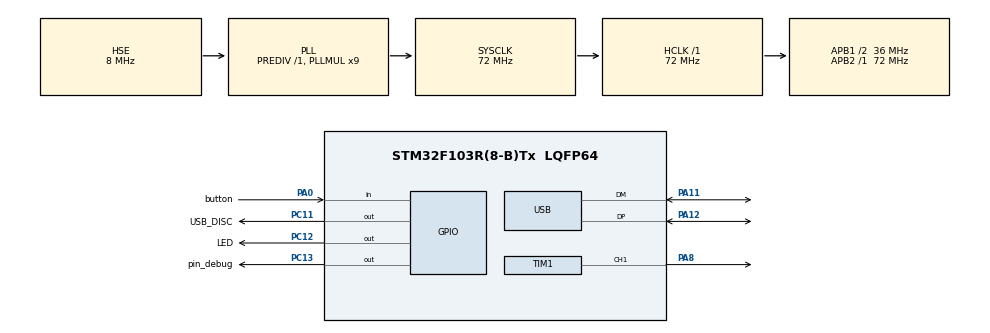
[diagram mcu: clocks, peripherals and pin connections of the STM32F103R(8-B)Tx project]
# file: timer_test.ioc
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Mcu.Family=STM32F1
Mcu.Name=STM32F103R(8-B)Tx
Mcu.Package=LQFP64
NVIC.PriorityGroup=NVIC_PRIORITYGROUP_4
NVIC.TIM1_CC_IRQn=true\:0\:0\:false\:false\:true\:true\:true\:true
NVIC.TIM3_IRQn=true\:0\:0\:false\:false\:true\:true\:true\:true
NVIC.USB_LP_CAN1_RX0_IRQn=true\:0\:0\:false\:false\:true\:false\:true\:true
PA0-WKUP.GPIO_Label=button
PA0-WKUP.Signal=GPIO_Input
PA11.Mode=Device
PA11.Signal=USB_DM
PA12.Mode=Device
PA12.Signal=USB_DP
PA13.Mode=JTAG_5_pins
PA13.Signal=SYS_JTMS-SWDIO
PA14.Mode=JTAG_5_pins
PA14.Signal=SYS_JTCK-SWCLK
PA15.Mode=JTAG_5_pins
PA15.Signal=SYS_JTDI
PA8.Signal=S_TIM1_CH1
PB3.Mode=JTAG_5_pins
PB3.Signal=SYS_JTDO-TRACESWO
PB4.Mode=JTAG_5_pins
PB4.Signal=SYS_NJTRST
PC11.GPIO_Label=USB_DISC
PC11.Signal=GPIO_Output
PC12.GPIO_Label=LED
PC12.Signal=GPIO_Output
PC13-TAMPER-RTC.GPIO_Label=pin_debug
PC13-TAMPER-RTC.Signal=GPIO_Output
PD0-OSC_IN.Mode=HSE-External-Oscillator
PD0-OSC_IN.Signal=RCC_OSC_IN
PD1-OSC_OUT.Mode=HSE-External-Oscillator
PD1-OSC_OUT.Signal=RCC_OSC_OUT
PD2.Signal=S_TIM3_ETR
ProjectManager.HeapSize=0x200
ProjectManager.StackSize=0x400
ProjectManager.TargetToolchain=STM32CubeIDE
RCC.AHBFreq_Value=72000000
RCC.APB1CLKDivider=RCC_HCLK_DIV2
RCC.APB1Freq_Value=36000000
RCC.APB1TimFreq_Value=72000000
RCC.APB2Freq_Value=72000000
RCC.APB2TimFreq_Value=72000000
RCC.HCLKFreq_Value=72000000
RCC.PLLMUL=RCC_PLL_MUL9
RCC.PLLSourceVirtual=RCC_PLLSOURCE_HSE
RCC.SYSCLKFreq_VALUE=72000000
RCC.SYSCLKSource=RCC_SYSCLKSOURCE_PLLCLK
RCC.USBFreq_Value=48000000
RCC.USBPrescaler=RCC_USBCLKSOURCE_PLL_DIV1_5
SH.S_TIM1_CH1.0=TIM1_CH1,PWM Generation1 CH1
SH.S_TIM3_ETR.0=TIM3_ETR
TIM1.AutoReloadPreload=TIM_AUTORELOAD_PRELOAD_ENABLE
TIM1.Channel-PWM\ Generation1\ CH1=TIM_CHANNEL_1
TIM1.Period=9
TIM1.Prescaler=7199
TIM1.Pulse-PWM\ Generation1\ CH1=5
TIM1.TIM_MasterOutputTrigger=TIM_TRGO_OC1
TIM1.TIM_MasterSlaveMode=TIM_MASTERSLAVEMODE_DISABLE
TIM3.Channel-Output\ Compare1\ No\ Output=TIM_CHANNEL_1
TIM3.Pulse-Output\ Compare1\ No\ Output=10
USB_DEVICE.APP_RX_DATA_SIZE=128
USB_DEVICE.APP_TX_DATA_SIZE=128
USB_DEVICE.CLASS_NAME_FS=CDC
USB_DEVICE.MANUFACTURER_STRING=RWGee
USB_DEVICE.PRODUCT_STRING_CDC_FS=Timer Test
USB_DEVICE.USBD_DEBUG_LEVEL=0
USB_DEVICE.VirtualMode=Cdc
USB_DEVICE.VirtualModeFS=Cdc_FS
VP_TIM1_VS_ClockSourceINT.Mode=Internal
VP_TIM3_VS_ClockSourceITR.Mode=TriggerSource_ITR0
VP_TIM3_VS_ControllerModeClock.Mode=Clock Mode
VP_TIM3_VS_no_output1.Mode=Output Compare1 No Output
VP_USB_DEVICE_VS_USB_DEVICE_CDC_FS.Mode=CDC_FS
board=custom

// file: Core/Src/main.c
/* USER CODE BEGIN Header */
/**
 ******************************************************************************
 * @file           : main.c
 * @brief          : Main program body
 ******************************************************************************
 * @attention
 *
 * Copyright (c) 2023 STMicroelectronics.
 * All rights reserved.
 *
 * This software is licensed under terms that can be found in the LICENSE file
 * in the root directory of this software component.
 * If no LICENSE file comes with this software, it is provided AS-IS.
 *
 ******************************************************************************
 */
/* USER CODE END Header */
#include "main.h"
#include "usb_device.h"

/* USER CODE BEGIN Includes */
#include <stdint.h>
#include <stdbool.h>
#include <limits.h>
#include "motion.h"
#include "usbd_cdc_if.h"
/* USER CODE END Includes */

/* USER CODE BEGIN PD */
#define LED_FREQ						3U		// Hz
#define LED_DUTY						20U		// percentage
#define BGLOOP_RATE                     20U
#define ACCEL_STEPS                     10U
#define ACCEL_K                         220U    // Fraction of 256
/* USER CODE END PD */

TIM_HandleTypeDef htim1;
TIM_HandleTypeDef htim3;

/* USER CODE BEGIN PV */
static struct
{
  uint32_t on_ticks;
  uint32_t off_ticks;
  uint32_t next_change;
  GPIO_PinState state;
} sled =  { 0 };

static struct
{
volatile  bool running;
  uint32_t n_pulse;
  uint32_t psc;
  uint32_t ccr1;
} spwm = {0};

static uint32_t a_psc[ACCEL_STEPS] = {0};
/* USER CODE END PV */

void SystemClock_Config(void);
static void MX_GPIO_Init(void);
static void MX_TIM1_Init(void);
static void MX_TIM3_Init(void);
/* USER CODE BEGIN PFP */

static void set_led_rate(uint32_t freq, uint32_t dr);
static void bg_proc(void);
static void schedule_pulse(uint32_t ticks);
static void motion_test(void);
/* USER CODE END PFP */

int main(void)
{
  /* USER CODE BEGIN 1 */

  set_led_rate(LED_FREQ, LED_DUTY);

  HAL_GPIO_WritePin(LED_GPIO_Port, LED_Pin, GPIO_PIN_SET);

  /* USER CODE END 1 */

  /* MCU Configuration--------------------------------------------------------*/

  /* Reset of all peripherals, Initializes the Flash interface and the Systick. */
  HAL_Init();

  /* Configure the system clock */
  SystemClock_Config();

  /* Initialize all configured peripherals */
  MX_GPIO_Init();
  MX_TIM1_Init();
  MX_TIM3_Init();
  MX_USB_DEVICE_Init();
  /* USER CODE BEGIN 2 */
  //HAL_TIM_PWM_Start(&htim1, TIM_CHANNEL_1);
  //HAL_TIM_OC_Start_IT(&htim3, TIM_CHANNEL_1);
  spwm.psc = htim1.Init.Prescaler;
  spwm.ccr1 = htim1.Instance->CCR1;
  HAL_GPIO_WritePin(pin_debug_GPIO_Port, pin_debug_Pin, GPIO_PIN_RESET);
  HAL_NVIC_SetPriority(TIM1_UP_IRQn, 0, 0);
  HAL_NVIC_EnableIRQ(TIM1_UP_IRQn);

  // Prepare accel steps
  uint32_t psc = spwm.psc;
  for (uint32_t i = 0; i < ACCEL_STEPS ; i++)
  {
    psc = (psc * ACCEL_K) >> 8;
    a_psc[i] = psc;
  }

  /* USER CODE END 2 */

  /* Infinite loop */
  /* USER CODE BEGIN WHILE */
  static uint32_t bg_tick;
  bg_tick = HAL_GetTick() + BGLOOP_RATE;
  while (1)
  {
    if (HAL_GetTick() >= bg_tick)
    {
      bg_tick += BGLOOP_RATE;
      bg_proc();
    }

    if (HAL_GetTick() >= sled.next_change)
    {
      if (sled.state == GPIO_PIN_SET)
      {
        sled.state = GPIO_PIN_RESET;
        sled.next_change += sled.on_ticks;
      }
      else
      {
        sled.state = GPIO_PIN_SET;
        sled.next_change += sled.off_ticks;
      }
      HAL_GPIO_WritePin(LED_GPIO_Port, LED_Pin, sled.state);
    }
    /* USER CODE END WHILE */

  }
}

void SystemClock_Config(void)
{
  RCC_OscInitTypeDef RCC_OscInitStruct = {0};
  RCC_ClkInitTypeDef RCC_ClkInitStruct = {0};
  RCC_PeriphCLKInitTypeDef PeriphClkInit = {0};

  /** Initializes the RCC Oscillators according to the specified parameters
  * in the RCC_OscInitTypeDef structure.
  */
  RCC_OscInitStruct.OscillatorType = RCC_OSCILLATORTYPE_HSE;
  RCC_OscInitStruct.HSEState = RCC_HSE_ON;
  RCC_OscInitStruct.HSEPredivValue = RCC_HSE_PREDIV_DIV1;
  RCC_OscInitStruct.HSIState = RCC_HSI_ON;
  RCC_OscInitStruct.PLL.PLLState = RCC_PLL_ON;
  RCC_OscInitStruct.PLL.PLLSource = RCC_PLLSOURCE_HSE;
  RCC_OscInitStruct.PLL.PLLMUL = RCC_PLL_MUL9;
  if (HAL_RCC_OscConfig(&RCC_OscInitStruct) != HAL_OK)
  {
    Error_Handler();
  }

  /** Initializes the CPU, AHB and APB buses clocks
  */
  RCC_ClkInitStruct.ClockType = RCC_CLOCKTYPE_HCLK|RCC_CLOCKTYPE_SYSCLK
                              |RCC_CLOCKTYPE_PCLK1|RCC_CLOCKTYPE_PCLK2;
  RCC_ClkInitStruct.SYSCLKSource = RCC_SYSCLKSOURCE_PLLCLK;
  RCC_ClkInitStruct.AHBCLKDivider = RCC_SYSCLK_DIV1;
  RCC_ClkInitStruct.APB1CLKDivider = RCC_HCLK_DIV2;
  RCC_ClkInitStruct.APB2CLKDivider = RCC_HCLK_DIV1;

  if (HAL_RCC_ClockConfig(&RCC_ClkInitStruct, FLASH_LATENCY_2) != HAL_OK)
  {
    Error_Handler();
  }
  PeriphClkInit.PeriphClockSelection = RCC_PERIPHCLK_USB;
  PeriphClkInit.UsbClockSelection = RCC_USBCLKSOURCE_PLL_DIV1_5;
  if (HAL_RCCEx_PeriphCLKConfig(&PeriphClkInit) != HAL_OK)
  {
    Error_Handler();
  }
}

static void MX_TIM1_Init(void)
{

  TIM_ClockConfigTypeDef sClockSourceConfig = {0};
  TIM_MasterConfigTypeDef sMasterConfig = {0};
  TIM_OC_InitTypeDef sConfigOC = {0};
  TIM_BreakDeadTimeConfigTypeDef sBreakDeadTimeConfig = {0};

  htim1.Instance = TIM1;
  htim1.Init.Prescaler = 7199;
  htim1.Init.CounterMode = TIM_COUNTERMODE_UP;
  htim1.Init.Period = 9;
  htim1.Init.ClockDivision = TIM_CLOCKDIVISION_DIV1;
  htim1.Init.RepetitionCounter = 0;
  htim1.Init.AutoReloadPreload = TIM_AUTORELOAD_PRELOAD_ENABLE;
  if (HAL_TIM_Base_Init(&htim1) != HAL_OK)
  {
    Error_Handler();
  }
  sClockSourceConfig.ClockSource = TIM_CLOCKSOURCE_INTERNAL;
  if (HAL_TIM_ConfigClockSource(&htim1, &sClockSourceConfig) != HAL_OK)
  {
    Error_Handler();
  }
  if (HAL_TIM_PWM_Init(&htim1) != HAL_OK)
  {
    Error_Handler();
  }
  sMasterConfig.MasterOutputTrigger = TIM_TRGO_OC1;
  sMasterConfig.MasterSlaveMode = TIM_MASTERSLAVEMODE_DISABLE;
  if (HAL_TIMEx_MasterConfigSynchronization(&htim1, &sMasterConfig) != HAL_OK)
  {
    Error_Handler();
  }
  sConfigOC.OCMode = TIM_OCMODE_PWM1;
  sConfigOC.Pulse = 5;
  sConfigOC.OCPolarity = TIM_OCPOLARITY_HIGH;
  sConfigOC.OCNPolarity = TIM_OCNPOLARITY_HIGH;
  sConfigOC.OCFastMode = TIM_OCFAST_DISABLE;
  sConfigOC.OCIdleState = TIM_OCIDLESTATE_RESET;
  sConfigOC.OCNIdleState = TIM_OCNIDLESTATE_RESET;
  if (HAL_TIM_PWM_ConfigChannel(&htim1, &sConfigOC, TIM_CHANNEL_1) != HAL_OK)
  {
    Error_Handler();
  }
  sBreakDeadTimeConfig.OffStateRunMode = TIM_OSSR_DISABLE;
  sBreakDeadTimeConfig.OffStateIDLEMode = TIM_OSSI_DISABLE;
  sBreakDeadTimeConfig.LockLevel = TIM_LOCKLEVEL_OFF;
  sBreakDeadTimeConfig.DeadTime = 0;
  sBreakDeadTimeConfig.BreakState = TIM_BREAK_DISABLE;
  sBreakDeadTimeConfig.BreakPolarity = TIM_BREAKPOLARITY_HIGH;
  sBreakDeadTimeConfig.AutomaticOutput = TIM_AUTOMATICOUTPUT_DISABLE;
  if (HAL_TIMEx_ConfigBreakDeadTime(&htim1, &sBreakDeadTimeConfig) != HAL_OK)
  {
    Error_Handler();
  }
  HAL_TIM_MspPostInit(&htim1);

}

static void MX_TIM3_Init(void)
{

  TIM_SlaveConfigTypeDef sSlaveConfig = {0};
  TIM_MasterConfigTypeDef sMasterConfig = {0};
  TIM_OC_InitTypeDef sConfigOC = {0};

  htim3.Instance = TIM3;
  htim3.Init.Prescaler = 0;
  htim3.Init.CounterMode = TIM_COUNTERMODE_UP;
  htim3.Init.Period = 65535;
  htim3.Init.ClockDivision = TIM_CLOCKDIVISION_DIV1;
  htim3.Init.AutoReloadPreload = TIM_AUTORELOAD_PRELOAD_DISABLE;
  if (HAL_TIM_Base_Init(&htim3) != HAL_OK)
  {
    Error_Handler();
  }
  if (HAL_TIM_OC_Init(&htim3) != HAL_OK)
  {
    Error_Handler();
  }
  sSlaveConfig.SlaveMode = TIM_SLAVEMODE_EXTERNAL1;
  sSlaveConfig.InputTrigger = TIM_TS_ITR0;
  if (HAL_TIM_SlaveConfigSynchro(&htim3, &sSlaveConfig) != HAL_OK)
  {
    Error_Handler();
  }
  sMasterConfig.MasterOutputTrigger = TIM_TRGO_RESET;
  sMasterConfig.MasterSlaveMode = TIM_MASTERSLAVEMODE_DISABLE;
  if (HAL_TIMEx_MasterConfigSynchronization(&htim3, &sMasterConfig) != HAL_OK)
  {
    Error_Handler();
  }
  sConfigOC.OCMode = TIM_OCMODE_TIMING;
  sConfigOC.Pulse = 10;
  sConfigOC.OCPolarity = TIM_OCPOLARITY_HIGH;
  sConfigOC.OCFastMode = TIM_OCFAST_DISABLE;
  if (HAL_TIM_OC_ConfigChannel(&htim3, &sConfigOC, TIM_CHANNEL_1) != HAL_OK)
  {
    Error_Handler();
  }

}

static void MX_GPIO_Init(void)
{
  GPIO_InitTypeDef GPIO_InitStruct = {0};

  /* GPIO Ports Clock Enable */
  __HAL_RCC_GPIOC_CLK_ENABLE();
  __HAL_RCC_GPIOD_CLK_ENABLE();
  __HAL_RCC_GPIOA_CLK_ENABLE();
  __HAL_RCC_GPIOB_CLK_ENABLE();

  /*Configure GPIO pin Output Level */
  HAL_GPIO_WritePin(GPIOC, pin_debug_Pin|USB_DISC_Pin|LED_Pin, GPIO_PIN_RESET);

  /*Configure GPIO pins : pin_debug_Pin USB_DISC_Pin LED_Pin */
  GPIO_InitStruct.Pin = pin_debug_Pin|USB_DISC_Pin|LED_Pin;
  GPIO_InitStruct.Mode = GPIO_MODE_OUTPUT_PP;
  GPIO_InitStruct.Pull = GPIO_NOPULL;
  GPIO_InitStruct.Speed = GPIO_SPEED_FREQ_LOW;
  HAL_GPIO_Init(GPIOC, &GPIO_InitStruct);

  /*Configure GPIO pin : button_Pin */
  GPIO_InitStruct.Pin = button_Pin;
  GPIO_InitStruct.Mode = GPIO_MODE_INPUT;
  GPIO_InitStruct.Pull = GPIO_NOPULL;
  HAL_GPIO_Init(button_GPIO_Port, &GPIO_InitStruct);

}

/* USER CODE BEGIN 4 */
void HAL_TIM_OC_DelayElapsedCallback(TIM_HandleTypeDef *htim)
{
  // TODO: Don't use the HAL as it combines the **individual** timer IRQs into
  // unified callback, as a result I have to check the timer instance
  if (htim->Instance == TIM3)
  {
//    __HAL_TIM_DISABLE_IT(&htim1, TIM_IT_CC1);
    htim1.Instance->CCER &= ~TIM_CCER_CC1E;
    htim1.Instance->CR1 &= ~(TIM_CR1_CEN);
    htim3.Instance->CNT = 0;
    htim1.Instance->CNT = 0;
    htim1.Instance->CCR1 = spwm.ccr1;
    htim1.Instance->PSC = spwm.psc;
    htim1.Instance->EGR |= TIM_EGR_UG;
    set_led_rate(LED_FREQ*2, 50);
    HAL_GPIO_WritePin(pin_debug_GPIO_Port, pin_debug_Pin, GPIO_PIN_RESET);
    spwm.running = false;
    htim1.Init.Prescaler = spwm.psc;
    HAL_TIM_PWM_Stop_IT(&htim1, TIM_CHANNEL_1);
  }
}

void HAL_TIM_PWM_PulseFinishedCallback(TIM_HandleTypeDef *htim)
{
  static uint32_t ticks_prev = ULONG_MAX;
  static uint32_t steps = 0;
  static uint8_t buff[30];
  // See comment in OC delay callback
  if (htim->Instance == TIM1)
  {
    //HAL_GPIO_TogglePin(pin_debug_GPIO_Port, pin_debug_Pin);
    uint32_t ticks = motion_step();
    if (ticks == 0)
    {
      ticks_prev = ULONG_MAX;
      // Stop timer
      HAL_TIM_PWM_Stop_IT(&htim1, TIM_CHANNEL_1);
      spwm.running = false;
      HAL_GPIO_WritePin(pin_debug_GPIO_Port, pin_debug_Pin, GPIO_PIN_RESET);

      sprintf((void*)buff, "ISR count %lu\r\n", steps);
      (void)CDC_Transmit_FS(buff, strlen((void*)buff));
      steps = 0;
    }
    else
    {
      steps++;
      if (ticks != ticks_prev)
      {
        schedule_pulse(ticks);
        ticks_prev = ticks;
      }
    }
  }
}

static void set_led_rate(uint32_t freq, uint32_t dr)
{
  uint32_t period_ticks = uwTickFreq * 1000U / freq;
  sled.on_ticks = (period_ticks * dr) / 100;
  sled.off_ticks = (period_ticks * (100 - dr) / 100);
  sled.next_change = HAL_GetTick() + sled.off_ticks;
}

static void bg_proc(void)
{
  // Check for button press
  static GPIO_PinState btn_prev = GPIO_PIN_RESET;
  static uint8_t buff[30];
  GPIO_PinState btn_state = HAL_GPIO_ReadPin(button_GPIO_Port, button_Pin);
  bool btn_press = false;
  if (btn_state != btn_prev)
  {
    if (btn_prev == GPIO_PIN_RESET)
    {
      btn_press = true;
    }
    btn_prev = btn_state;
  }

  if (!spwm.running)
  {
    if (btn_press)
    {
      sprintf((void*)buff, "Starting pulses\r\n");
      (void)CDC_Transmit_FS(buff, strlen((void*)buff));
      htim3.Instance->CNT = 0;
      uint32_t ticks = motion_start_fp(210, 2000, 500);
      schedule_pulse(ticks);
      htim1.Instance->EGR |= TIM_EGR_UG;
      __HAL_TIM_CLEAR_FLAG(&htim1, TIM_IT_CC1);
//      HAL_TIM_PWM_Start_DMA(&htim1, TIM_CHANNEL_1, a_psc, ACCEL_STEPS);
      HAL_GPIO_WritePin(pin_debug_GPIO_Port, pin_debug_Pin, GPIO_PIN_SET);
      HAL_TIM_PWM_Start_IT(&htim1, TIM_CHANNEL_1);
      spwm.running = true;
    }
  }

}

static void schedule_pulse(uint32_t ticks)
{
  // ticks is in terms of Fclock/5 (i.e. ARR = 4)
  // Work out PSC, ARR and CCR1 values
  uint32_t psc;
  uint32_t div = 5;
  psc = ticks;
  while(1)
  {
    if (psc <= 65535)
      break;
    div <<= 1;
    psc >>= 1;
  }

  htim1.Instance->ARR = div-1;
  htim1.Instance->CCR1 = div >> 1;
  htim1.Instance->PSC = psc;
}

#define NUM_STEPS       600
#define ACCEL           2000
#define MAX_SPEED       500

static void motion_test(void)
{
  HAL_GPIO_WritePin(pin_debug_GPIO_Port, pin_debug_Pin, GPIO_PIN_SET);
  uint32_t *p_motion = motion_start_fp(NUM_STEPS, ACCEL, MAX_SPEED);
  HAL_GPIO_WritePin(pin_debug_GPIO_Port, pin_debug_Pin, GPIO_PIN_RESET);
  p_motion = motion_start_fp(5, ACCEL, MAX_SPEED);
  p_motion = motion_start_fp(10, ACCEL, MAX_SPEED);

  for (uint32_t i = 0; i < NUM_STEPS; i++)
  {
    printf("step %lu, speed %lu\n\r", i, p_motion[i]);
  }

  motion_complete();
}

/* USER CODE END 4 */

void Error_Handler(void)
{
  __disable_irq();
  while (1)
  {
  }
}
